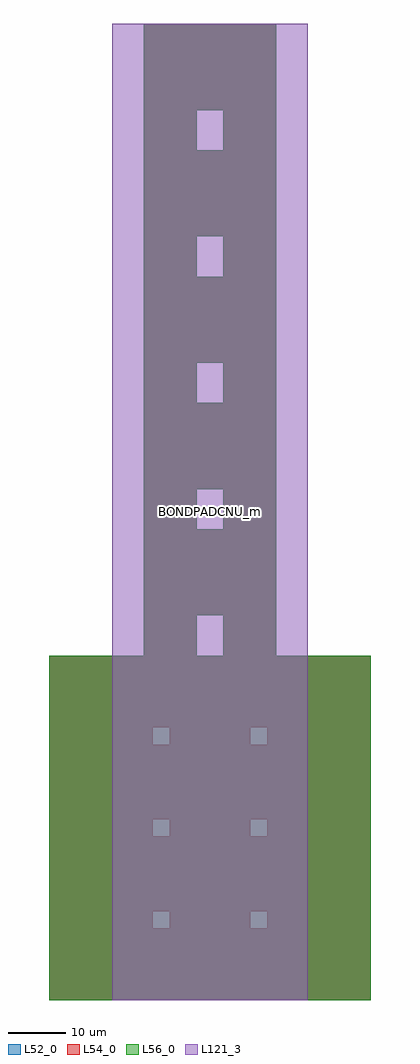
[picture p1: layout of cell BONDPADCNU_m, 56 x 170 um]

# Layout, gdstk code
import gdstk
lib = gdstk.Library(unit=1e-6, precision=1e-09)
def R(c, l, rs):  # rectangles x0, y0, x1, y1
    for r in rs: c.add(gdstk.rectangle(r[:2], r[2:], *l))
def A(c, l, x, y, w, h, nx, ny, dx, dy):  # array of equal rectangles
    R(c, l, [(x+i*dx, y+j*dy, x+i*dx+w, y+j*dy+h) for i in range(nx) for j in range(ny)])
L52_0 = (52, 0)
L54_0 = (54, 0)
L56_0 = (56, 0)
L121_3 = (121, 3)

bondpadcnu_m = lib.new_cell('BONDPADCNU_m')
A(bondpadcnu_m, L52_0, 5.55, 67, 23, 15, 1, 5, 0, 22)
R(bondpadcnu_m, L52_0, [(-10.95,0,45.05,12.5), (-10.95,0,7.05,60), (10.05,0,24.05,60), (27.05,0,45.05,60), (-10.95,15.5,45.05,28.5), (-10.95,31.5,45.05,44.5), (5.55,47.5,14.74,170), (19.36,47.5,28.55,170)])
A(bondpadcnu_m, L54_0, 5.55, 67, 23, 15, 1, 5, 0, 22)
R(bondpadcnu_m, L54_0, [(-10.95,0,45.05,12.5), (-10.95,0,7.05,60), (10.05,0,24.05,60), (27.05,0,45.05,60), (-10.95,15.5,45.05,28.5), (-10.95,31.5,45.05,44.5), (5.55,47.5,14.74,170), (19.36,47.5,28.55,170)])
A(bondpadcnu_m, L56_0, 5.55, 67, 23, 15, 1, 5, 0, 22)
R(bondpadcnu_m, L56_0, [(-10.95,0,45.05,60), (5.55,0,14.74,170), (19.36,0,28.55,170)])
R(bondpadcnu_m, L121_3, [(0,0,34.1,170)])
bondpadcnu_m.add(gdstk.Label('BONDPADCNU_m', (17.05,85), layer=121, texttype=3))

lib.write_gds('BONDPADCNU_m.gds')
